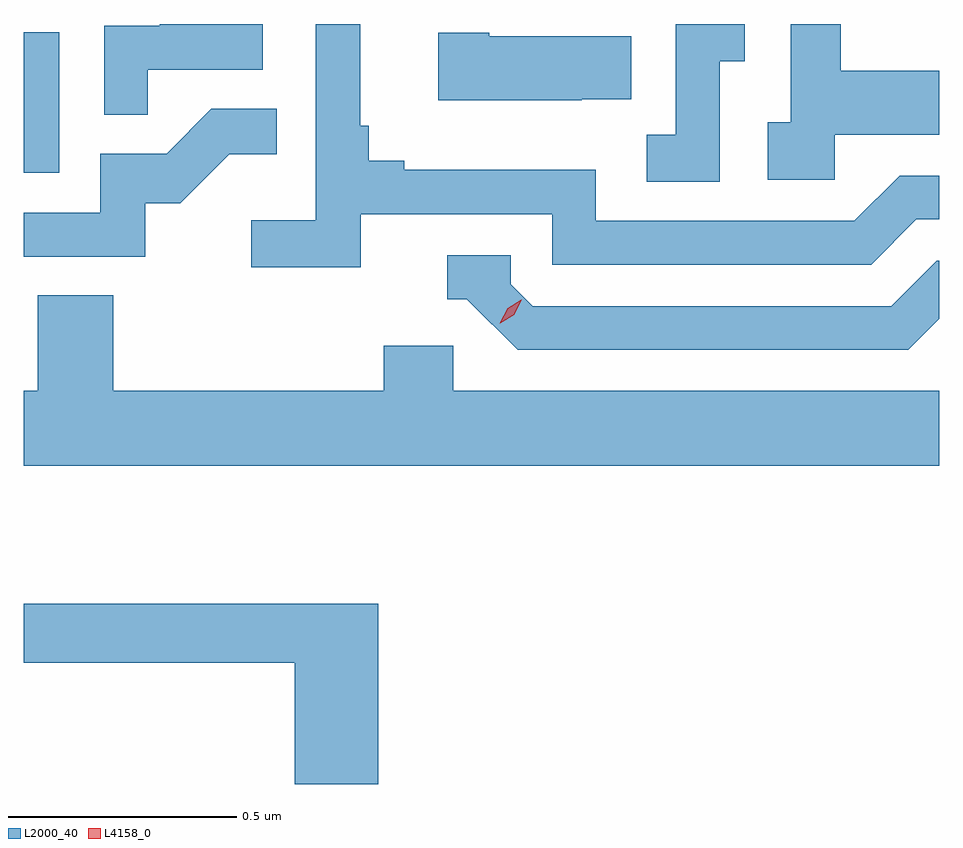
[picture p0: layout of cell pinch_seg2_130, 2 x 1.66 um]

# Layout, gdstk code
import gdstk
lib = gdstk.Library(unit=1e-6, precision=1e-09)
def R(c, l, rs):  # rectangles x0, y0, x1, y1
    for r in rs: c.add(gdstk.rectangle(r[:2], r[2:], *l))
def P(c, l, *ps):  # polygons
    for p in ps: c.add(gdstk.Polygon(p, *l))
L2000_40 = (2000, 40)
L4158_0 = (4158, 0)

pinch_seg2_130 = lib.new_cell('pinch_seg2_130')
R(pinch_seg2_130, L2000_40, [(1060.51,629.628,1060.588,629.935)])
P(pinch_seg2_130, L2000_40, [(1062.03,629.872),(1062.085,629.872),(1062.085,629.953),(1061.934,629.953),(1061.934,629.711),(1061.871,629.711),(1061.871,629.608),(1062.03,629.608)],
  [(1060.781,629.853),(1061.032,629.853),(1061.032,629.953),(1060.807,629.953),(1060.807,629.949),(1060.686,629.949),(1060.686,629.755),(1060.781,629.755)],
  [(1062.282,629.711),(1062.51,629.711),(1062.51,629.851),(1062.295,629.851),(1062.295,629.953),(1062.186,629.953),(1062.186,629.738),(1062.135,629.738),(1062.135,629.613),(1062.282,629.613)],
  [(1061.246,629.538),(1061.664,629.538),(1061.664,629.427),(1062.361,629.427),(1062.46,629.526),(1062.51,629.526),(1062.51,629.622),(1062.423,629.622),(1062.324,629.523),(1061.76,629.523),(1061.76,629.635),(1061.341,629.635),(1061.341,629.654),(1061.264,629.654),(1061.264,629.731),(1061.245,629.731),(1061.245,629.953),(1061.148,629.953),(1061.148,629.524),(1061.007,629.524),(1061.007,629.422),(1061.246,629.422)],
  [(1061.729,629.789),(1061.837,629.789),(1061.837,629.926),(1061.527,629.926),(1061.527,629.934),(1061.415,629.934),(1061.415,629.786),(1061.729,629.786)],
  [(1060.776,629.562),(1060.852,629.562),(1060.959,629.669),(1061.063,629.669),(1061.063,629.768),(1060.92,629.768),(1060.822,629.67),(1060.677,629.67),(1060.677,629.541),(1060.51,629.541),(1060.51,629.445),(1060.776,629.445)],
  [(1062.51,629.309),(1062.51,629.436),(1062.504,629.436),(1062.405,629.337),(1061.622,629.337),(1061.574,629.385),(1061.574,629.448),(1061.435,629.448),(1061.435,629.352),(1061.478,629.352),(1061.589,629.241),(1062.442,629.241)],
  [(1061.297,629.25),(1061.297,629.152),(1060.706,629.152),(1060.706,629.36),(1060.541,629.36),(1060.541,629.152),(1060.51,629.152),(1060.51,628.988),(1062.51,628.988),(1062.51,629.152),(1061.448,629.152),(1061.448,629.25)],
  [(1061.285,628.687),(1060.51,628.687),(1060.51,628.558),(1061.102,628.558),(1061.102,628.293),(1061.285,628.293)])
P(pinch_seg2_130, L4158_0, [(1061.55,629.299),(1061.55,629.299),(1061.567,629.332),(1061.597,629.351),(1061.598,629.351),(1061.598,629.351),(1061.582,629.318),(1061.551,629.299)])

lib.write_gds('pinch_seg2_130.gds')
